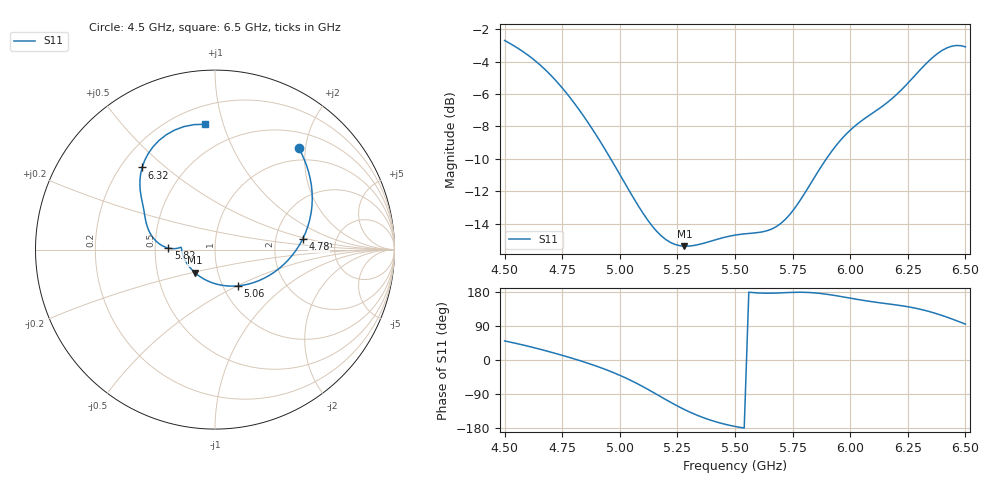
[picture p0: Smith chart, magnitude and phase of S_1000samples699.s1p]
! TOUCHSTONE file generated by CST MICROWAVE STUDIO
! Date and time: Sat Oct 29 02:00:08 2022
! Project name: L.cst
! Parameters = {Di=1.27; Epsilon_r=1.56; InnerDiameter=1.27; Length=2; Lf=10; Lg=60; OuterConductorThickness=0.2921; OuterDiameter=3.6; Wf=3; Wp=41.2; de=1.5; df=6.8; g=0.8; gx=1.56082; gy=1.02656; h=2.34; hf=1.524; px=11.8444; py=10.4471; w=9.7; wx=10.2836; wy=9.4205}
! Header version: 2018
! Port assignment regex: !\s*Touchstone port\s*([0-9]+)\s*=\s*(CST MWS port|CST DS port)\s*([0-9]+|Zmin|Zmax)\s*\(\"(.*)\"\)(\s*mode\s*([0-9]+))?.*
! Touchstone port assignment:
! Touchstone port 1 = CST MWS port 1 ("")
# GHz S DB R 50
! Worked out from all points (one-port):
!   101 points, 4.5 GHz to 6.5 GHz, reference 50 ohm
!   lowest |S11| = -15.4 dB at 5.28 GHz (marker M1), VSWR 1.41, Z = 38.8 - j10.3 ohm
!   |S11| at or under -10 dB: 4.961 GHz to 5.896 GHz (935.7 MHz wide, 17.2 % of centre)
!   S11 on the Smith chart (normalised r, x): 4.5 GHz: 0.77, +1.88; 4.78 GHz: 2.86, +0.45; 5.06 GHz: 1.18, -0.50; 5.82 GHz: 0.59, +0.01; 6.32 GHz: 0.29, +0.42; 6.5 GHz: 0.32, +0.87
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4.5  -2.70 50.3
4.58  -3.39 39.5
4.64  -4.04 30.5
4.7  -4.84 20.9
4.76  -5.80 10.5
4.78  -6.15 7.0
4.84  -7.30 -4.3
4.9  -8.59 -16.5
5  -10.96 -40.4
5.06  -12.42 -57.5
5.16  -14.46 -90.6
5.26  -15.35 -124.5
5.28  -15.38 -130.6
5.38  -15.13 -155.9
5.5  -14.70 -175.4
5.58  -14.57 177.8
5.66  -14.32 176.3
5.76  -13.02 178.6
5.82  -11.71 178.1
5.9  -9.92 173.3
6  -8.23 163.3
6.18  -6.31 146.9
6.26  -5.18 139.5
6.32  -4.27 131.6
6.36  -3.73 124.9
6.4  -3.31 117.2
6.46  -3.01 104.1
6.5  -3.10 94.6
